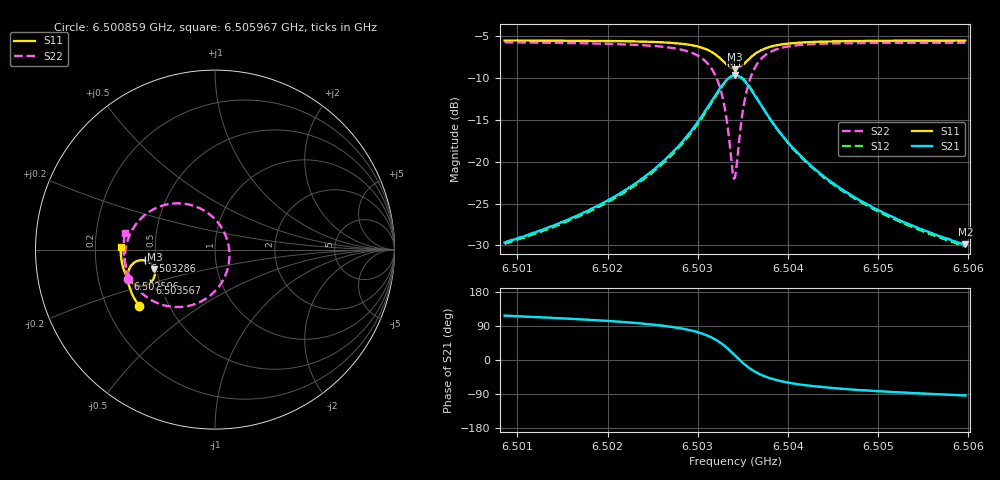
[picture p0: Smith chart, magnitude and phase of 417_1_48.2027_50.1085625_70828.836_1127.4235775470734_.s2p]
#  HZ  S  RI  R  50.00
! Rohde & Schwarz Vector Network Analyzer
! Rohde-Schwarz,ZNB20-2Port,1311601062101988,3.16
! Created: UTC 3/20/2024, 11:54:46 AM
! freq[Hz]  re:S11  im:S11  re:S21  im:S21  re:S12  im:S12  re:S22  im:S22
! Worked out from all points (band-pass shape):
!   401 points, 6.500859 GHz to 6.505967 GHz, reference 50 ohm
!   highest |S21| = -9.73 dB at 6.503413 GHz (marker M1); lowest = -29.9 dB at 6.505967 GHz (marker M2)
!   |S21| within 3 dB of the highest: 6.503159 GHz to 6.503669 GHz (510.2 kHz wide, 0.00785 % of centre)
!   lowest |S11| = -9.0 dB at 6.503413 GHz (marker M3), VSWR 2.10, Z = 24.3 - j6.02 ohm
!   |S11| at or under -10 dB: nowhere
!   |S22| runs from -22.0 to -5.8 dB; largest |S21 - S12| = 0.011
!   S11 on the Smith chart (normalised r, x): 6.500859 GHz: 0.34, -0.30; 6.502596 GHz: 0.33, -0.15; 6.503286 GHz: 0.44, -0.06; 6.503567 GHz: 0.44, -0.20; 6.505967 GHz: 0.31, +0.01
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6.5008593e9  -0.4221 -0.3148  -0.015 0.0293  -0.0133 0.0294  -0.4868 -0.1629
6.5017149e9  -0.4595 -0.2523  -0.0144 0.0469  -0.0121 0.0465  -0.5016 -0.0735
6.5021491e9  -0.4751 -0.2147  -0.012 0.0642  -0.00907 0.063  -0.5 -0.0135
6.5025706e9  -0.4858 -0.1692  -0.00293 0.0952  0.000581 0.0928  -0.4809 0.0675
6.5025961e9  -0.4862 -0.1659  -0.00179 0.0978  0.00175 0.0955  -0.4785 0.0736
6.5028898e9  -0.4829 -0.1214  0.0249 0.1412  0.0286 0.1369  -0.423 0.1623
6.5030814e9  -0.462 -0.0834  0.0781 0.183  0.0805 0.177  -0.3215 0.2347
6.5031963e9  -0.4302 -0.0625  0.1462 0.2008  0.147 0.1946  -0.1987 0.2577
6.5032857e9  -0.3901 -0.0603  0.225 0.1854  0.2251 0.1803  -0.0629 0.2189
6.503324e9  -0.3711 -0.0678  0.261 0.1627  0.2617 0.1583  -0.00329 0.1729
6.5033879e9  -0.3444 -0.094  0.3087 0.0997  0.3113 0.0949  0.0687 0.0519
6.5034134e9  -0.338 -0.1084  0.3191 0.0677  0.3221 0.0622  0.0798 -0.00756
6.5034389e9  -0.3349 -0.1239  0.3228 0.0346  0.3261 0.0276  0.0783 -0.0686
6.5035028e9  -0.3419 -0.1608  0.3052 -0.043  0.3074 -0.0527  0.0241 -0.2029
6.5035667e9  -0.3629 -0.1867  0.2629 -0.0969  0.2619 -0.108  -0.0714 -0.2857
6.5036688e9  -0.4021 -0.2019  0.1888 -0.1332  0.1836 -0.1425  -0.22 -0.3201
6.5038348e9  -0.448 -0.1924  0.1078 -0.1304  0.1007 -0.1354  -0.3665 -0.2743
6.5040136e9  -0.4753 -0.171  0.0636 -0.1107  0.0574 -0.1128  -0.438 -0.2099
6.504269e9  -0.496 -0.141  0.0338 -0.0866  0.0291 -0.0872  -0.4813 -0.1384
6.5046394e9  -0.5112 -0.1026  0.0152 -0.0644  0.0121 -0.064  -0.5032 -0.0658
6.5051246e9  -0.5209 -0.0579  0.00497 -0.0475  0.00281 -0.0467  -0.5098 0.00197
6.5059675e9  -0.5259 0.0131  -0.00201 -0.032  -0.00336 -0.0311  -0.502 0.0901
